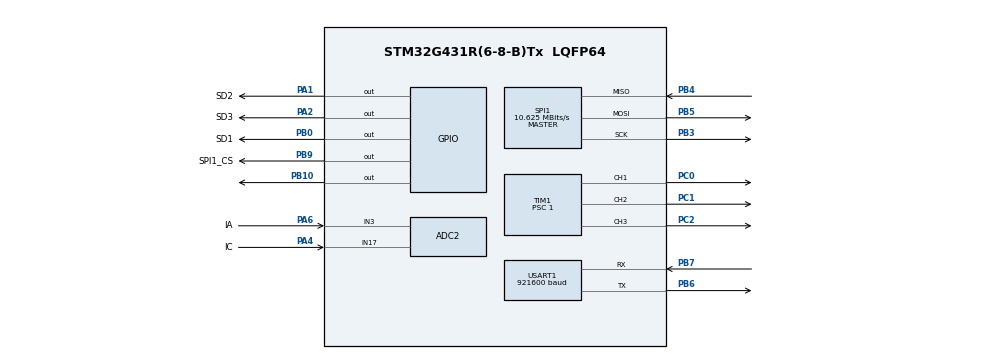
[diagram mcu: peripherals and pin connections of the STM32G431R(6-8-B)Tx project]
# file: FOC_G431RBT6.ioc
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ADC2.ContinuousConvMode=DISABLE
ADC2.EOCSelection=ADC_EOC_SINGLE_CONV
ADC2.EnableInjectedConversion=ENABLE
ADC2.EnableRegularConversion=DISABLE
ADC2.ExternalTrigInjecConv=ADC_EXTERNALTRIGINJEC_T1_TRGO
ADC2.InjNumberOfConversion=2
ADC2.InjectedChannel-1\#ChannelInjectedConversion=ADC_CHANNEL_3
ADC2.InjectedChannel-3\#ChannelInjectedConversion=ADC_CHANNEL_17
ADC2.InjectedOffsetNumber-1\#ChannelInjectedConversion=ADC_OFFSET_NONE
ADC2.InjectedOffsetNumber-3\#ChannelInjectedConversion=ADC_OFFSET_NONE
ADC2.InjectedRank-1\#ChannelInjectedConversion=1
ADC2.InjectedRank-3\#ChannelInjectedConversion=2
ADC2.InjectedSamplingTime-1\#ChannelInjectedConversion=ADC_SAMPLETIME_24CYCLES_5
ADC2.InjectedSamplingTime-3\#ChannelInjectedConversion=ADC_SAMPLETIME_24CYCLES_5
ADC2.injectedQueueMode=DISABLE
Dma.Request0=USART1_RX
Dma.Request1=USART1_TX
Dma.Request2=SPI1_RX
Dma.Request3=SPI1_TX
Dma.SPI1_RX.2.Direction=DMA_PERIPH_TO_MEMORY
Dma.SPI1_RX.2.EventEnable=DISABLE
Dma.SPI1_RX.2.Instance=DMA1_Channel3
Dma.SPI1_RX.2.MemDataAlignment=DMA_MDATAALIGN_BYTE
Dma.SPI1_RX.2.MemInc=DMA_MINC_ENABLE
Dma.SPI1_RX.2.Mode=DMA_NORMAL
Dma.SPI1_RX.2.PeriphDataAlignment=DMA_PDATAALIGN_BYTE
Dma.SPI1_RX.2.PeriphInc=DMA_PINC_DISABLE
Dma.SPI1_RX.2.Polarity=HAL_DMAMUX_REQ_GEN_RISING
Dma.SPI1_RX.2.Priority=DMA_PRIORITY_LOW
Dma.SPI1_RX.2.RequestNumber=1
Dma.SPI1_RX.2.SignalID=NONE
Dma.SPI1_RX.2.SyncEnable=DISABLE
Dma.SPI1_RX.2.SyncPolarity=HAL_DMAMUX_SYNC_NO_EVENT
Dma.SPI1_RX.2.SyncRequestNumber=1
Dma.SPI1_RX.2.SyncSignalID=NONE
Dma.SPI1_TX.3.Direction=DMA_MEMORY_TO_PERIPH
Dma.SPI1_TX.3.EventEnable=DISABLE
Dma.SPI1_TX.3.Instance=DMA1_Channel4
Dma.SPI1_TX.3.MemDataAlignment=DMA_MDATAALIGN_BYTE
Dma.SPI1_TX.3.MemInc=DMA_MINC_ENABLE
Dma.SPI1_TX.3.Mode=DMA_NORMAL
Dma.SPI1_TX.3.PeriphDataAlignment=DMA_PDATAALIGN_BYTE
Dma.SPI1_TX.3.PeriphInc=DMA_PINC_DISABLE
Dma.SPI1_TX.3.Polarity=HAL_DMAMUX_REQ_GEN_RISING
Dma.SPI1_TX.3.Priority=DMA_PRIORITY_LOW
Dma.SPI1_TX.3.RequestNumber=1
Dma.SPI1_TX.3.SignalID=NONE
Dma.SPI1_TX.3.SyncEnable=DISABLE
Dma.SPI1_TX.3.SyncPolarity=HAL_DMAMUX_SYNC_NO_EVENT
Dma.SPI1_TX.3.SyncRequestNumber=1
Dma.SPI1_TX.3.SyncSignalID=NONE
Dma.USART1_RX.0.Direction=DMA_PERIPH_TO_MEMORY
Dma.USART1_RX.0.EventEnable=DISABLE
Dma.USART1_RX.0.Instance=DMA1_Channel1
Dma.USART1_RX.0.MemDataAlignment=DMA_MDATAALIGN_BYTE
Dma.USART1_RX.0.MemInc=DMA_MINC_ENABLE
Dma.USART1_RX.0.Mode=DMA_NORMAL
Dma.USART1_RX.0.PeriphDataAlignment=DMA_PDATAALIGN_BYTE
Dma.USART1_RX.0.PeriphInc=DMA_PINC_DISABLE
Dma.USART1_RX.0.Polarity=HAL_DMAMUX_REQ_GEN_RISING
Dma.USART1_RX.0.Priority=DMA_PRIORITY_LOW
Dma.USART1_RX.0.RequestNumber=1
Dma.USART1_RX.0.SignalID=NONE
Dma.USART1_RX.0.SyncEnable=DISABLE
Dma.USART1_RX.0.SyncPolarity=HAL_DMAMUX_SYNC_NO_EVENT
Dma.USART1_RX.0.SyncRequestNumber=1
Dma.USART1_RX.0.SyncSignalID=NONE
Dma.USART1_TX.1.Direction=DMA_MEMORY_TO_PERIPH
Dma.USART1_TX.1.EventEnable=DISABLE
Dma.USART1_TX.1.Instance=DMA1_Channel2
Dma.USART1_TX.1.MemDataAlignment=DMA_MDATAALIGN_BYTE
Dma.USART1_TX.1.MemInc=DMA_MINC_ENABLE
Dma.USART1_TX.1.Mode=DMA_NORMAL
Dma.USART1_TX.1.PeriphDataAlignment=DMA_PDATAALIGN_BYTE
Dma.USART1_TX.1.PeriphInc=DMA_PINC_DISABLE
Dma.USART1_TX.1.Polarity=HAL_DMAMUX_REQ_GEN_RISING
Dma.USART1_TX.1.Priority=DMA_PRIORITY_MEDIUM
Dma.USART1_TX.1.RequestNumber=1
Dma.USART1_TX.1.SignalID=NONE
Dma.USART1_TX.1.SyncEnable=DISABLE
Dma.USART1_TX.1.SyncPolarity=HAL_DMAMUX_SYNC_NO_EVENT
Dma.USART1_TX.1.SyncRequestNumber=1
Dma.USART1_TX.1.SyncSignalID=NONE
Mcu.Family=STM32G4
Mcu.Name=STM32G431R(6-8-B)Tx
Mcu.Package=LQFP64
Mcu.UserConstants=motor_speed_calc_freq,1000;motor_pwm_freq,20000
NVIC.ADC1_2_IRQn=true\:0\:0\:true\:false\:true\:true\:true\:true
NVIC.DMA1_Channel1_IRQn=true\:0\:0\:false\:false\:true\:false\:true\:true
NVIC.DMA1_Channel2_IRQn=true\:0\:0\:false\:false\:true\:false\:true\:true
NVIC.DMA1_Channel3_IRQn=true\:0\:0\:false\:false\:true\:false\:true\:true
NVIC.DMA1_Channel4_IRQn=true\:0\:0\:false\:false\:true\:false\:true\:true
NVIC.PriorityGroup=NVIC_PRIORITYGROUP_4
NVIC.TIM3_IRQn=true\:2\:0\:true\:false\:true\:true\:true\:true
NVIC.USART1_IRQn=true\:2\:0\:true\:false\:true\:true\:true\:true
PA1.GPIO_Label=SD2
PA1.GPIO_Speed=GPIO_SPEED_FREQ_VERY_HIGH
PA1.PinState=GPIO_PIN_RESET
PA1.Signal=GPIO_Output
PA13.Mode=Serial_Wire
PA13.Signal=SYS_JTMS-SWDIO
PA14.Mode=Serial_Wire
PA14.Signal=SYS_JTCK-SWCLK
PA2.GPIO_Label=SD3
PA2.GPIO_Speed=GPIO_SPEED_FREQ_VERY_HIGH
PA2.PinState=GPIO_PIN_RESET
PA2.Signal=GPIO_Output
PA4.GPIO_Label=IC
PA4.Mode=IN17-Single-Ended
PA4.Signal=ADC2_IN17
PA6.GPIO_Label=IA
PA6.Mode=IN3-Single-Ended
PA6.Signal=ADC2_IN3
PB0.GPIO_Label=SD1
PB0.GPIO_Speed=GPIO_SPEED_FREQ_VERY_HIGH
PB0.PinState=GPIO_PIN_RESET
PB0.Signal=GPIO_Output
PB10.GPIO_Speed=GPIO_SPEED_FREQ_HIGH
PB10.PinState=GPIO_PIN_RESET
PB10.Signal=GPIO_Output
PB3.Mode=Full_Duplex_Master
PB3.Signal=SPI1_SCK
PB4.Mode=Full_Duplex_Master
PB4.Signal=SPI1_MISO
PB5.Mode=Full_Duplex_Master
PB5.Signal=SPI1_MOSI
PB6.Mode=Asynchronous
PB6.Signal=USART1_TX
PB7.Mode=Asynchronous
PB7.Signal=USART1_RX
PB9.GPIO_Label=SPI1_CS
PB9.PinState=GPIO_PIN_SET
PB9.Signal=GPIO_Output
PC0.Signal=S_TIM1_CH1
PC1.Signal=S_TIM1_CH2
PC2.Signal=S_TIM1_CH3
PF0-OSC_IN.Mode=HSE-External-Oscillator
PF0-OSC_IN.Signal=RCC_OSC_IN
PF1-OSC_OUT.Mode=HSE-External-Oscillator
PF1-OSC_OUT.Signal=RCC_OSC_OUT
ProjectManager.HeapSize=0x400
ProjectManager.StackSize=0x600
ProjectManager.TargetToolchain=MDK-ARM V5
RCC.ADC12Freq_Value=170000000
RCC.AHBFreq_Value=170000000
RCC.APB1Freq_Value=170000000
RCC.APB1TimFreq_Value=170000000
RCC.APB2Freq_Value=170000000
RCC.APB2TimFreq_Value=170000000
RCC.CortexFreq_Value=170000000
RCC.EXTERNAL_CLOCK_VALUE=12288000
RCC.HCLKFreq_Value=170000000
RCC.HSE_VALUE=16000000
RCC.HSI48_VALUE=48000000
RCC.HSI_VALUE=16000000
RCC.LSE_VALUE=32768
RCC.PLLM=RCC_PLLM_DIV4
RCC.PLLN=85
RCC.PLLSourceVirtual=RCC_PLLSOURCE_HSE
RCC.SYSCLKFreq_VALUE=170000000
RCC.SYSCLKSource=RCC_SYSCLKSOURCE_PLLCLK
RCC.USBFreq_Value=170000000
RCC.VCOOutputFreq_Value=340000000
SH.S_TIM1_CH1.0=TIM1_CH1,PWM Generation1 CH1
SH.S_TIM1_CH2.0=TIM1_CH2,PWM Generation2 CH2
SH.S_TIM1_CH3.0=TIM1_CH3,PWM Generation3 CH3
SPI1.BaudRatePrescaler=SPI_BAUDRATEPRESCALER_16
SPI1.CLKPhase=SPI_PHASE_2EDGE
SPI1.CLKPolarity=SPI_POLARITY_HIGH
SPI1.CalculateBaudRate=10.625 MBits/s
SPI1.DataSize=SPI_DATASIZE_8BIT
SPI1.Direction=SPI_DIRECTION_2LINES
SPI1.Mode=SPI_MODE_MASTER
SPI1.VirtualType=VM_MASTER
STMicroelectronics.X-CUBE-ALGOBUILD.1.4.0.LibraryCcDSPOoLibraryJjDSPOoLibrary=true
TIM1.AutoReloadPreload=TIM_AUTORELOAD_PRELOAD_ENABLE
TIM1.AutomaticOutput=TIM_AUTOMATICOUTPUT_DISABLE
TIM1.Break2Polarity=TIM_BREAK2POLARITY_LOW
TIM1.Break2State=TIM_BREAK2_DISABLE
TIM1.BreakPolarity=TIM_BREAKPOLARITY_LOW
TIM1.BreakState=TIM_BREAK_DISABLE
TIM1.Channel-PWM\ Generation1\ CH1=TIM_CHANNEL_1
TIM1.Channel-PWM\ Generation2\ CH2=TIM_CHANNEL_2
TIM1.Channel-PWM\ Generation3\ CH3=TIM_CHANNEL_3
TIM1.CounterMode=TIM_COUNTERMODE_CENTERALIGNED3
TIM1.LockLevel=TIM_LOCKLEVEL_1
TIM1.OCMode_PWM-PWM\ Generation1\ CH1=TIM_OCMODE_PWM2
TIM1.OCMode_PWM-PWM\ Generation2\ CH2=TIM_OCMODE_PWM2
TIM1.OCMode_PWM-PWM\ Generation3\ CH3=TIM_OCMODE_PWM2
TIM1.PeriodNoDither=(85000000/motor_pwm_freq)
TIM1.Prescaler=1
TIM1.RepetitionCounter=1
TIM1.TIM_MasterOutputTrigger=TIM_TRGO_UPDATE
TIM3.PeriodNoDither=1000000/motor_speed_calc_freq
TIM3.Prescaler=169
USART1.BaudRate=921600
USART1.VirtualMode-Asynchronous=VM_ASYNC
VP_STMicroelectronics.X-CUBE-ALGOBUILD_VS_DSPOoLibraryJjLibrary_1.4.0_1.4.0.Mode=DSPOoLibraryJjLibrary
VP_SYS_VS_DBSignals.Mode=DisableDeadBatterySignals
VP_TIM1_VS_ClockSourceINT.Mode=Internal
VP_TIM3_VS_ClockSourceINT.Mode=Internal
board=custom

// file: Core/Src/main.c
/* USER CODE BEGIN Header */
/**
 ******************************************************************************
 * @file           : main.c
 * @brief          : Main program body
 ******************************************************************************
 * @attention
 *
 * Copyright (c) 2025 STMicroelectronics.
 * All rights reserved.
 *
 * This software is licensed under terms that can be found in the LICENSE file
 * in the root directory of this software component.
 * If no LICENSE file comes with this software, it is provided AS-IS.
 *
 ******************************************************************************
 */
/* USER CODE END Header */
#include "main.h"
#include "adc.h"
#include "dma.h"
#include "spi.h"
#include "tim.h"
#include "usart.h"
#include "gpio.h"

/* USER CODE BEGIN Includes */
#include "stdio.h"
#include "motor_runtime_param.h"
#include "global_def.h"
#include "conf.h"
#include "foc.h"
/* USER CODE END Includes */

void SystemClock_Config(void);

/* USER CODE BEGIN 0 */
void set_pwm_duty(float d_u, float d_v, float d_w)
{
  d_u = min(d_u, 0.9);
  d_v = min(d_v, 0.9);
  d_w = min(d_w, 0.9);
  __disable_irq();
  __HAL_TIM_SET_COMPARE(&htim1, TIM_CHANNEL_1, (1 - d_u) * htim1.Instance->ARR);
  __HAL_TIM_SET_COMPARE(&htim1, TIM_CHANNEL_2, (1 - d_v) * htim1.Instance->ARR);
  __HAL_TIM_SET_COMPARE(&htim1, TIM_CHANNEL_3, (1 - d_w) * htim1.Instance->ARR);
  __enable_irq();
}

/* USER CODE END 0 */

int main(void)
{

  /* USER CODE BEGIN 1 */
  struct Frame
  {
    float data[3];
    unsigned char tail[4];
  };
  /* USER CODE END 1 */

  /* MCU Configuration--------------------------------------------------------*/

  /* Reset of all peripherals, Initializes the Flash interface and the Systick. */
  HAL_Init();

  /* Configure the system clock */
  SystemClock_Config();

  /* Initialize all configured peripherals */
  MX_GPIO_Init();
  MX_DMA_Init();
  MX_SPI1_Init();
  MX_USART1_UART_Init();
  MX_TIM3_Init();
  MX_TIM1_Init();
  MX_ADC2_Init();
  /* USER CODE BEGIN 2 */

  /*中断版本------------------------------------------------------------------*/
  LL_GPIO_ResetOutputPin(SPI1_CS_GPIO_Port, SPI1_CS_Pin); // 1️⃣ 拉低 CS
  LL_DMA_DisableChannel(DMA1, LL_DMA_CHANNEL_3);          // 2️⃣ 配置 DMA
  LL_DMA_DisableChannel(DMA1, LL_DMA_CHANNEL_4);
  LL_DMA_SetDataLength(DMA1, LL_DMA_CHANNEL_3, 2);
  LL_DMA_SetDataLength(DMA1, LL_DMA_CHANNEL_4, 2);

  LL_DMA_ConfigAddresses(DMA1, LL_DMA_CHANNEL_3,
                         LL_SPI_DMA_GetRegAddr(SPI1),
                         (uint32_t)KTH7823_rx_data,
                         LL_DMA_DIRECTION_PERIPH_TO_MEMORY);

  LL_DMA_ConfigAddresses(DMA1, LL_DMA_CHANNEL_4,
                         (uint32_t)KTH7823_tx_data,
                         LL_SPI_DMA_GetRegAddr(SPI1),
                         LL_DMA_DIRECTION_MEMORY_TO_PERIPH);

  LL_DMA_EnableIT_TC(DMA1, LL_DMA_CHANNEL_3);   // 打开接收中断
  LL_DMA_EnableChannel(DMA1, LL_DMA_CHANNEL_3); // 使能接收通道
  LL_DMA_EnableChannel(DMA1, LL_DMA_CHANNEL_4); // 使能发送通道

  LL_SPI_EnableDMAReq_TX(SPI1); // 4️⃣ 启动 SPI DMA 请求
  LL_SPI_EnableDMAReq_RX(SPI1);
  LL_SPI_Enable(SPI1);
  /*中断版本------------------------------------------------------------------*/

  // LL_SPI_Enable(SPI1);
  // LL_DMA_DisableChannel(DMA1, LL_DMA_CHANNEL_3);
  // LL_DMA_DisableChannel(DMA1, LL_DMA_CHANNEL_4);
  // LL_DMA_ConfigAddresses(DMA1, LL_DMA_CHANNEL_3,
  //                        LL_SPI_DMA_GetRegAddr(SPI1),
  //                        (uint32_t)KTH7823_rx_data,
  //                        LL_DMA_DIRECTION_PERIPH_TO_MEMORY);
  // LL_DMA_ConfigAddresses(DMA1, LL_DMA_CHANNEL_4,
  //                        (uint32_t)KTH7823_tx_data,
  //                        LL_SPI_DMA_GetRegAddr(SPI1),
  //                        LL_DMA_DIRECTION_MEMORY_TO_PERIPH);

  HAL_GPIO_WritePin(SD1_GPIO_Port, SD1_Pin, GPIO_PIN_SET);
  HAL_GPIO_WritePin(SD2_GPIO_Port, SD2_Pin, GPIO_PIN_SET);
  HAL_GPIO_WritePin(SD3_GPIO_Port, SD3_Pin, GPIO_PIN_SET);
  HAL_TIM_PWM_Start(&htim1, TIM_CHANNEL_1);
  HAL_TIM_PWM_Start(&htim1, TIM_CHANNEL_2);
  HAL_TIM_PWM_Start(&htim1, TIM_CHANNEL_3);
  // set_pwm_duty(0.5, 0, 0);
  rotor_zero_angle = 0.05; //-1.04
  // HAL_Delay(500);
  // set_pwm_duty(0, 0, 0);

  HAL_TIM_Base_Start_IT(&htim3);
  HAL_Delay(100);

  HAL_ADCEx_Calibration_Start(&hadc2, ADC_SINGLE_ENDED);
  HAL_ADCEx_InjectedStart_IT(&hadc2);

  set_motor_pid(
      2.5, 0, 2,
      0.02, 0.001, 0,
      0.15, 0, 0,
      0.15, 0, 0);
  motor_control_context.torque_norm_d = 0;
  motor_control_context.torque_norm_q = 0.3;
  motor_control_context.type = control_type_torque;
  // motor_control_context.speed = 10;
  // motor_control_context.type = control_type_speed;

  // motor_control_context.position = deg2rad(160); // 上电时的角度当作0度
  // motor_control_context.type = control_type_position;

  /* USER CODE END 2 */

  /* Infinite loop */
  while (1)
  {

  }
}

void SystemClock_Config(void)
{
  LL_FLASH_SetLatency(LL_FLASH_LATENCY_4);
  while (LL_FLASH_GetLatency() != LL_FLASH_LATENCY_4)
  {
  }
  LL_PWR_EnableRange1BoostMode();
  LL_RCC_HSE_Enable();
  /* Wait till HSE is ready */
  while (LL_RCC_HSE_IsReady() != 1)
  {
  }

  LL_RCC_PLL_ConfigDomain_SYS(LL_RCC_PLLSOURCE_HSE, LL_RCC_PLLM_DIV_4, 85, LL_RCC_PLLR_DIV_2);
  LL_RCC_PLL_EnableDomain_SYS();
  LL_RCC_PLL_Enable();
  /* Wait till PLL is ready */
  while (LL_RCC_PLL_IsReady() != 1)
  {
  }

  LL_RCC_SetSysClkSource(LL_RCC_SYS_CLKSOURCE_PLL);
  LL_RCC_SetAHBPrescaler(LL_RCC_SYSCLK_DIV_2);
  /* Wait till System clock is ready */
  while (LL_RCC_GetSysClkSource() != LL_RCC_SYS_CLKSOURCE_STATUS_PLL)
  {
  }

  /* Insure 1us transition state at intermediate medium speed clock*/
  for (__IO uint32_t i = (170 >> 1); i != 0; i--)
    ;

  /* Set AHB prescaler*/
  LL_RCC_SetAHBPrescaler(LL_RCC_SYSCLK_DIV_1);
  LL_RCC_SetAPB1Prescaler(LL_RCC_APB1_DIV_1);
  LL_RCC_SetAPB2Prescaler(LL_RCC_APB2_DIV_1);
  LL_SetSystemCoreClock(170000000);

  /* Update the time base */
  if (HAL_InitTick(TICK_INT_PRIORITY) != HAL_OK)
  {
    Error_Handler();
  }
}

void Error_Handler(void)
{
  __disable_irq();
  while (1)
  {
  }
}
